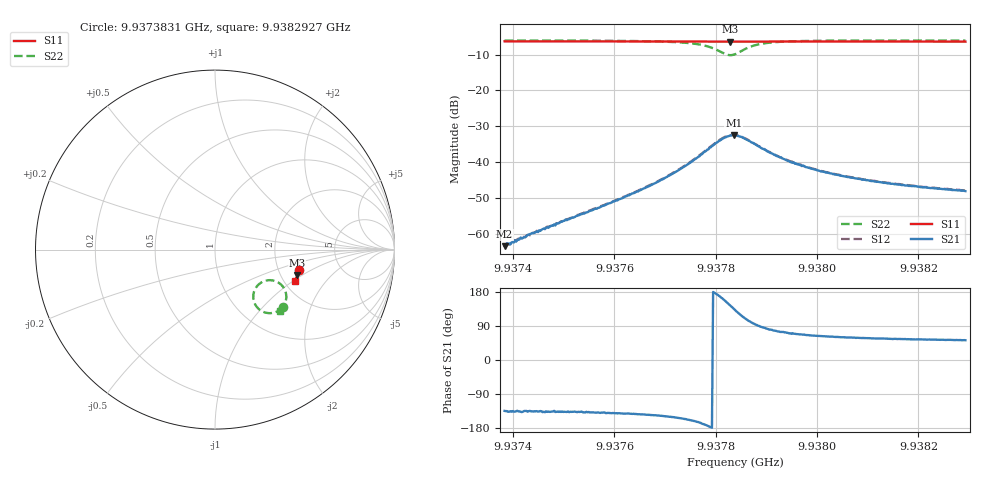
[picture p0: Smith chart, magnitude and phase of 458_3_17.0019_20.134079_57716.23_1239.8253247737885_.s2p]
#  HZ  S  RI  R  50.00
! Rohde & Schwarz Vector Network Analyzer
! Rohde-Schwarz,ZNB20-2Port,1311601062101988,3.16
! Created: UTC 3/20/2024, 11:12:40 PM
! freq[Hz]  re:S11  im:S11  re:S21  im:S21  re:S12  im:S12  re:S22  im:S22
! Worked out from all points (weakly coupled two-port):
!   401 points, 9.9373831 GHz to 9.9382927 GHz, reference 50 ohm
!   highest |S21| = -32.43 dB at 9.9378356 GHz (marker M1); lowest = -63.4 dB at 9.9373831 GHz (marker M2)
!   lowest |S11| = -6.4 dB at 9.9378288 GHz (marker M3), VSWR 2.84, Z = 122 - j45.1 ohm
!   |S11| at or under -10 dB: nowhere
!   |S22| runs from -10.2 to -6.1 dB; largest |S21 - S12| = 0.00094
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9.93738313e9  0.4697 -0.114  -0.000473 -0.000485  -0.000497 -0.000476  0.3786 -0.3223
9.93742179e9  0.4688 -0.1165  -0.000636 -0.000648  -0.000641 -0.00065  0.3756 -0.325
9.93743316e9  0.4685 -0.1172  -0.0007 -0.000714  -0.000689 -0.00067  0.3746 -0.326
9.93753548e9  0.4663 -0.1242  -0.00137 -0.00131  -0.00146 -0.00129  0.3635 -0.3349
9.93761962e9  0.4644 -0.1297  -0.00257 -0.00204  -0.00259 -0.00204  0.3493 -0.3433
9.93768783e9  0.4626 -0.1344  -0.00453 -0.00299  -0.00469 -0.00296  0.3286 -0.351
9.93773786e9  0.4608 -0.1379  -0.00791 -0.00359  -0.0081 -0.00357  0.2987 -0.354
9.93777879e9  0.4592 -0.1406  -0.0139 -0.00223  -0.0142 -0.00225  0.2516 -0.337
9.93780835e9  0.4577 -0.1417  -0.0196 0.00435  -0.0201 0.00506  0.2139 -0.2756
9.93781972e9  0.4573 -0.1418  -0.0201 0.0096  -0.0204 0.0104  0.2173 -0.2348
9.93782882e9  0.457 -0.1419  -0.0189 0.014  -0.0187 0.0147  0.2349 -0.2027
9.93783564e9  0.4571 -0.1421  -0.017 0.0168  -0.0166 0.0176  0.2561 -0.1842
9.93783791e9  0.4571 -0.1421  -0.0159 0.0175  -0.0156 0.0184  0.2641 -0.1797
9.93785155e9  0.4574 -0.1424  -0.00979 0.0201  -0.00938 0.0206  0.3144 -0.1707
9.9378652e9  0.4577 -0.1433  -0.00443 0.0194  -0.00402 0.0198  0.3537 -0.1839
9.93789248e9  0.4578 -0.1456  0.00104 0.0154  0.00147 0.0156  0.3894 -0.225
9.93792205e9  0.4575 -0.1478  0.0031 0.0118  0.00329 0.0118  0.3971 -0.258
9.93794478e9  0.4568 -0.1494  0.00351 0.00972  0.00352 0.0099  0.3967 -0.2746
9.93799026e9  0.4559 -0.1525  0.00348 0.00732  0.00362 0.00732  0.3914 -0.2961
9.93805166e9  0.4542 -0.1567  0.00321 0.00555  0.00334 0.00555  0.3838 -0.3124
9.93814261e9  0.4519 -0.1627  0.00285 0.00421  0.0029 0.00423  0.3745 -0.3265
9.93829269e9  0.4476 -0.1723  0.00243 0.00313  0.00251 0.00313  0.362 -0.3407
